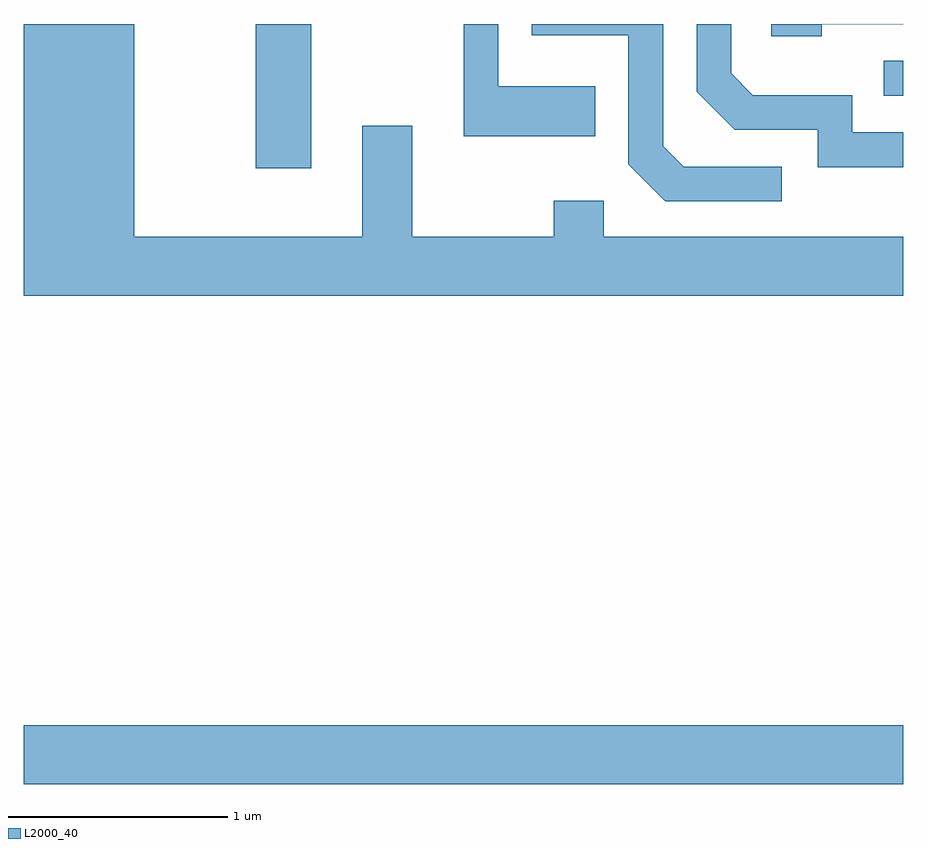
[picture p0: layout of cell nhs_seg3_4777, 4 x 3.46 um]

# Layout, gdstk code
import gdstk
lib = gdstk.Library(unit=1e-6, precision=1e-09)
def R(c, l, rs):  # rectangles x0, y0, x1, y1
    for r in rs: c.add(gdstk.rectangle(r[:2], r[2:], *l))
def P(c, l, *ps):  # polygons
    for p in ps: c.add(gdstk.Polygon(p, *l))
L2000_40 = (2000, 40)

nhs_seg3_4777 = lib.new_cell('nhs_seg3_4777')
R(nhs_seg3_4777, L2000_40, [(325.611,1150.436,329.611,1150.704), (326.666,1153.236,326.919,1153.892), (329.523,1153.566,329.611,1153.724)])
P(nhs_seg3_4777, L2000_40, [(329.611,1152.924),(328.249,1152.924),(328.249,1153.089),(328.021,1153.089),(328.021,1152.924),(327.379,1152.924),(327.379,1153.429),(327.151,1153.429),(327.151,1152.924),(326.114,1152.924),(326.114,1153.892),(325.611,1153.892),(325.611,1152.656),(329.611,1152.656)],
  [(329.239,1153.891),(329.611,1153.891),(329.611,1153.892),(329.011,1153.892),(329.011,1153.836),(329.239,1153.836)],
  [(329.058,1153.244),(328.612,1153.244),(328.519,1153.337),(328.519,1153.892),(327.921,1153.892),(327.921,1153.841),(328.361,1153.841),(328.361,1153.254),(328.529,1153.086),(329.058,1153.086)],
  [(329.611,1153.399),(329.379,1153.399),(329.379,1153.569),(328.927,1153.569),(328.829,1153.667),(328.829,1153.892),(328.671,1153.892),(328.671,1153.584),(328.844,1153.411),(329.221,1153.411),(329.221,1153.241),(329.611,1153.241)],
  [(328.209,1153.609),(327.769,1153.609),(327.769,1153.892),(327.611,1153.892),(327.611,1153.381),(328.209,1153.381)])

lib.write_gds('nhs_seg3_4777.gds')
